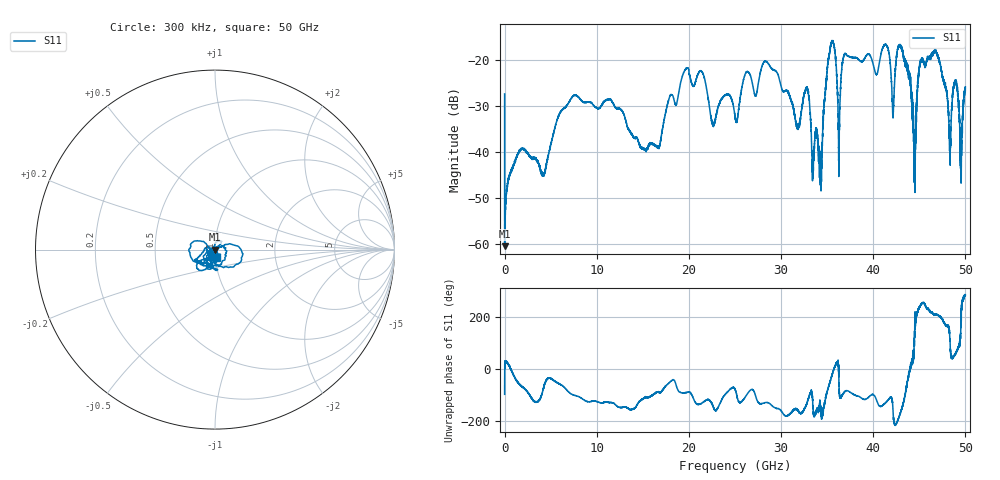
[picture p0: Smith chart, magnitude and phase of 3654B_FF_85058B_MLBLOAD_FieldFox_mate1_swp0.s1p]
!Created with skrf (http://scikit-rf.org).
# Hz S RI R 50.0
!freq ReS11 ImS11
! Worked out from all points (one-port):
!   10001 points, 300 kHz to 50 GHz, reference 50 ohm
!   lowest |S11| = -60.4 dB at 5.3 MHz (marker M1), VSWR 1.00, Z = 50.1 - j0.0551 ohm
!   |S11| at or under -10 dB: start of sweep to end of sweep
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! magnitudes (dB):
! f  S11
! 300 kHz  -27.4
! 5.3 MHz  -60.4
! 255.3 MHz  -48.2
! 1.835 GHz  -39.3
! 4.19 GHz  -45.1
! 6.25 GHz  -30.9
! 12.5 GHz  -30.6
! 15.3 GHz  -39.5
! 18.75 GHz  -28.8
! 21.29 GHz  -22.4
! 22.6 GHz  -34.0
! 25 GHz  -32.5
! 28.29 GHz  -20.4
! 31.25 GHz  -29.6
! 32.82 GHz  -26.0
! 33.41 GHz  -46.3
! 34.25 GHz  -45.0
! 35.4 GHz  -17.0
! 36.28 GHz  -42.7
! 37.5 GHz  -19.5
! 43.75 GHz  -22.3
! 44.46 GHz  -39.1
! 45.26 GHz  -19.7
! 46.91 GHz  -18.6
! 48.32 GHz  -40.1
! 48.95 GHz  -24.6
! 49.52 GHz  -43.9
! 50 GHz  -25.9
